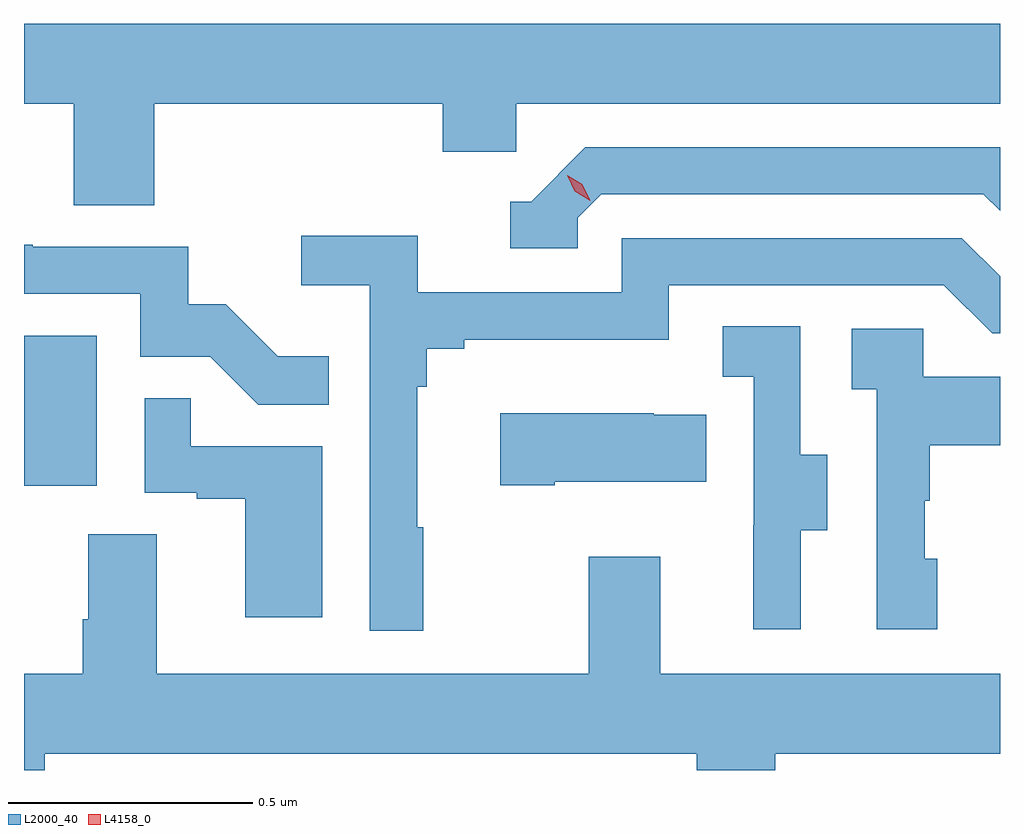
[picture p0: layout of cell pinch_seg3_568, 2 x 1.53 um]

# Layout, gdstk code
import gdstk
lib = gdstk.Library(unit=1e-6, precision=1e-09)
def R(c, l, rs):  # rectangles x0, y0, x1, y1
    for r in rs: c.add(gdstk.rectangle(r[:2], r[2:], *l))
def P(c, l, *ps):  # polygons
    for p in ps: c.add(gdstk.Polygon(p, *l))
L2000_40 = (2000, 40)
L4158_0 = (4158, 0)

pinch_seg3_568 = lib.new_cell('pinch_seg3_568')
R(pinch_seg3_568, L2000_40, [(1090.409,700.134,1090.558,700.441)])
P(pinch_seg3_568, L2000_40, [(1090.676,700.916),(1091.267,700.916),(1091.267,700.818),(1091.418,700.818),(1091.418,700.916),(1092.409,700.916),(1092.409,701.08),(1090.409,701.08),(1090.409,700.916),(1090.511,700.916),(1090.511,700.708),(1090.676,700.708)],
  [(1091.544,700.683),(1091.592,700.731),(1092.375,700.731),(1092.409,700.697),(1092.409,700.827),(1091.559,700.827),(1091.448,700.716),(1091.405,700.716),(1091.405,700.62),(1091.544,700.62)],
  [(1091.227,700.049),(1091.215,700.049),(1091.215,700.337),(1091.234,700.337),(1091.234,700.414),(1091.311,700.414),(1091.311,700.433),(1091.73,700.433),(1091.73,700.545),(1092.294,700.545),(1092.393,700.446),(1092.409,700.446),(1092.409,700.563),(1092.331,700.641),(1091.634,700.641),(1091.634,700.53),(1091.216,700.53),(1091.216,700.646),(1090.977,700.646),(1090.977,700.544),(1091.118,700.544),(1091.118,699.837),(1091.227,699.837)],
  [(1091.033,700.399),(1090.929,700.399),(1090.822,700.506),(1090.746,700.506),(1090.746,700.623),(1090.427,700.623),(1090.427,700.628),(1090.409,700.628),(1090.409,700.527),(1090.647,700.527),(1090.647,700.398),(1090.791,700.398),(1090.889,700.3),(1091.033,700.3)],
  [(1092.001,700.042),(1092.055,700.042),(1092.055,700.197),(1092,700.197),(1092,700.46),(1091.841,700.46),(1091.841,700.357),(1091.904,700.357),(1091.904,700.053),(1091.903,700.053),(1091.903,699.84),(1092.001,699.84)],
  [(1092.28,699.984),(1092.255,699.984),(1092.255,700.103),(1092.265,700.103),(1092.265,700.217),(1092.409,700.217),(1092.409,700.357),(1092.252,700.357),(1092.252,700.455),(1092.105,700.455),(1092.105,700.331),(1092.156,700.331),(1092.156,699.84),(1092.28,699.84)],
  [(1091.02,700.215),(1090.751,700.215),(1090.751,700.313),(1090.656,700.313),(1090.656,700.119),(1090.763,700.119),(1090.763,700.107),(1090.862,700.107),(1090.862,699.864),(1091.02,699.864)],
  [(1091.497,700.142),(1091.807,700.142),(1091.807,700.279),(1091.699,700.279),(1091.699,700.282),(1091.385,700.282),(1091.385,700.135),(1091.497,700.135)],
  [(1091.788,699.551),(1091.948,699.551),(1091.948,699.584),(1092.409,699.584),(1092.409,699.748),(1091.713,699.748),(1091.713,699.988),(1091.566,699.988),(1091.566,699.748),(1090.681,699.748),(1090.681,700.034),(1090.541,700.034),(1090.541,699.86),(1090.529,699.86),(1090.529,699.748),(1090.409,699.748),(1090.409,699.551),(1090.452,699.551),(1090.452,699.584),(1091.788,699.584)])
P(pinch_seg3_568, L4158_0, [(1091.569,700.718),(1091.538,700.737),(1091.522,700.77),(1091.522,700.77),(1091.522,700.77),(1091.553,700.751),(1091.569,700.718),(1091.569,700.718)])

lib.write_gds('pinch_seg3_568.gds')
